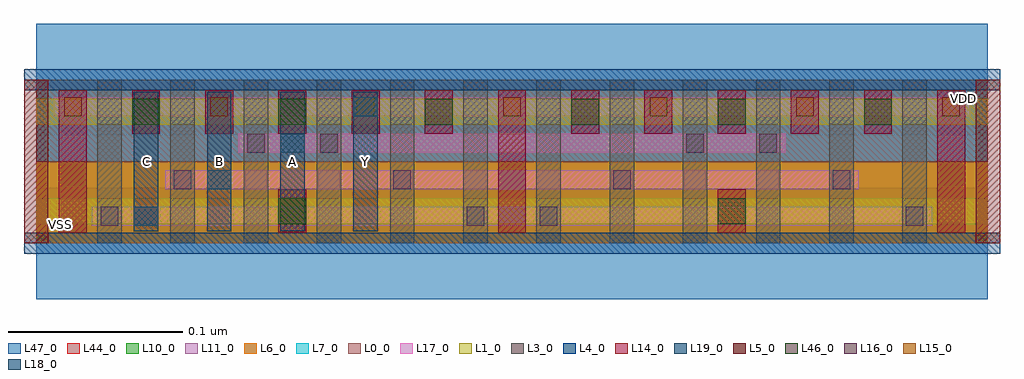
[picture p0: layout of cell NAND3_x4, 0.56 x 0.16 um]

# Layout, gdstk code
import gdstk
lib = gdstk.Library(unit=1e-6, precision=5e-10)
def R(c, l, rs):  # rectangles x0, y0, x1, y1
    for r in rs: c.add(gdstk.rectangle(r[:2], r[2:], *l))
def A(c, l, x, y, w, h, nx, ny, dx, dy):  # array of equal rectangles
    R(c, l, [(x+i*dx, y+j*dy, x+i*dx+w, y+j*dy+h) for i in range(nx) for j in range(ny)])
L0_0 = (0, 0)
L1_0 = (1, 0)
L3_0 = (3, 0)
L4_0 = (4, 0)
L5_0 = (5, 0)
L6_0 = (6, 0)
L7_0 = (7, 0)
L10_0 = (10, 0)
L11_0 = (11, 0)
L14_0 = (14, 0)
L15_0 = (15, 0)
L16_0 = (16, 0)
L17_0 = (17, 0)
L18_0 = (18, 0)
L19_0 = (19, 0)
L44_0 = (44, 0)
L46_0 = (46, 0)
L47_0 = (47, 0)

nand3_x4 = lib.new_cell('NAND3_x4')
R(nand3_x4, L0_0, [(0,0.047,0.546,0.094)])
R(nand3_x4, L1_0, [(0,0.011,0.546,0.026), (0,0.068,0.546,0.083)])
A(nand3_x4, L3_0, 0.035, 0, 0.014, 0.094, 12, 1, 0.042, 0)
R(nand3_x4, L4_0, [(-0.007,-0.006,0.553,0.006), (-0.007,0.088,0.553,0.1)])
R(nand3_x4, L5_0, [(-0.007,0,0.007,0.094), (0.539,0,0.553,0.094)])
R(nand3_x4, L6_0, [(0,0,0.546,0.047)])
R(nand3_x4, L7_0, [(0,0.047,0.546,0.094)])
R(nand3_x4, L10_0, [(0,0,0.546,0.047)])
R(nand3_x4, L11_0, [(0,0.047,0.546,0.094)])
A(nand3_x4, L14_0, 0.013, 0.006, 0.016, 0.082, 3, 1, 0.252, 0)
A(nand3_x4, L14_0, 0.055, 0.063, 0.016, 0.025, 5, 1, 0.042, 0)
A(nand3_x4, L14_0, 0.307, 0.063, 0.016, 0.025, 5, 1, 0.042, 0)
R(nand3_x4, L14_0, [(0.139,0.006,0.155,0.031), (0.391,0.006,0.407,0.031)])
A(nand3_x4, L15_0, 0.016, 0.073, 0.01, 0.011, 7, 1, 0.084, 0)
A(nand3_x4, L16_0, 0.079, 0.031, 0.01, 0.011, 4, 1, 0.126, 0)
R(nand3_x4, L16_0, [(0.037,0.01,0.047,0.021), (0.247,0.01,0.257,0.021), (0.289,0.01,0.299,0.021), (0.499,0.01,0.509,0.021), (0.121,0.052,0.131,0.063), (0.163,0.052,0.173,0.063), (0.373,0.052,0.383,0.063), (0.415,0.052,0.425,0.063)])
R(nand3_x4, L17_0, [(0.032,0.01,0.514,0.021), (0.074,0.031,0.472,0.042), (0.116,0.052,0.43,0.063), (0.01,0.073,0.536,0.084)])
R(nand3_x4, L18_0, [(0.056,0.01,0.07,0.021), (0.098,0.031,0.112,0.042), (0.14,0.052,0.154,0.063), (0.182,0.073,0.196,0.084)])
A(nand3_x4, L19_0, 0.056, 0.007, 0.014, 0.08, 4, 1, 0.042, 0)
R(nand3_x4, L44_0, [(0,0,0.546,0.094)])
A(nand3_x4, L46_0, 0.055, 0.068, 0.016, 0.015, 6, 1, 0.084, 0)
R(nand3_x4, L46_0, [(0.139,0.011,0.155,0.026), (0.391,0.011,0.407,0.026)])
R(nand3_x4, L47_0, [(0,-0.032,0.546,0.032), (0,0.062,0.546,0.126)])
nand3_x4.add(gdstk.Label('Y', (0.189,0.047), layer=19, texttype=2))
nand3_x4.add(gdstk.Label('C', (0.063,0.047), layer=19, texttype=2))
nand3_x4.add(gdstk.Label('B', (0.105,0.047), layer=19, texttype=2))
nand3_x4.add(gdstk.Label('A', (0.147,0.047), layer=19, texttype=2))
nand3_x4.add(gdstk.Label('VDD', (0.532,0.083), layer=47, texttype=2))
nand3_x4.add(gdstk.Label('VSS', (0.014,0.011), layer=47, texttype=2))
nand3_x4.add(gdstk.Label('VDD', (0.53,0.091), layer=0, texttype=2))
nand3_x4.add(gdstk.Label('VSS', (0.01,0.003), layer=54, texttype=2))

lib.write_gds('NAND3_x4.gds')
